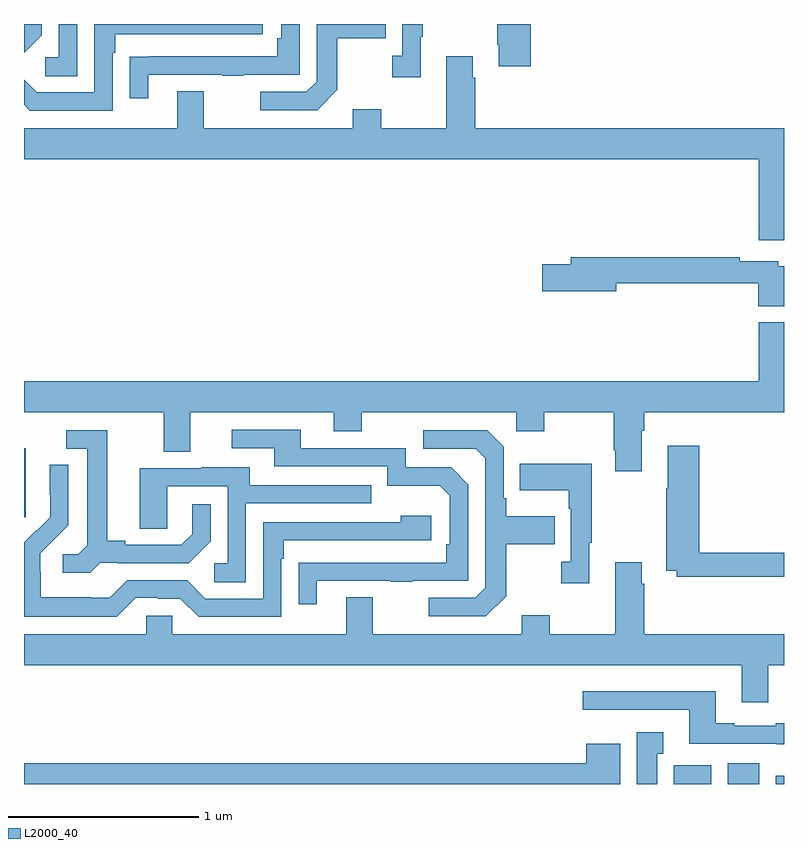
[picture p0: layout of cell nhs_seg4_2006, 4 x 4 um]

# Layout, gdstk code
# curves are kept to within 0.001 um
import gdstk
lib = gdstk.Library(unit=1e-6, precision=1e-09)
def R(c, l, rs):  # rectangles x0, y0, x1, y1
    for r in rs: c.add(gdstk.rectangle(r[:2], r[2:], *l))
def P(c, l, *ps):  # polygons
    for p in ps: c.add(gdstk.Polygon(p, *l))
L2000_40 = (2000, 40)

nhs_seg4_2006 = lib.new_cell('nhs_seg4_2006')
R(nhs_seg4_2006, L2000_40, [(218.421,758.9,218.617,759), (218.705,758.9,218.869,759.01), (218.957,758.9,219,758.944), (215,760.305,215.008,760.666)])
P(nhs_seg4_2006, L2000_40, [(215.094,762.842),(215.094,762.9),(215,762.9),(215,762.748)],
  [(215.466,762.749),(215.479,762.749),(215.479,762.846),(216.256,762.846),(216.256,762.9),(215.37,762.9),(215.37,762.54),(215.067,762.54),(215,762.607),(215,762.475),(215.031,762.444),(215.466,762.444)],
  [(216.649,762.553),(216.649,762.826),(216.905,762.826),(216.905,762.9),(216.54,762.9),(216.54,762.597),(216.486,762.543),(216.243,762.543),(216.243,762.447),(216.543,762.447)],
  [(215.653,762.633),(216.043,762.633),(216.043,762.628),(216.155,762.628),(216.155,762.633),(216.45,762.633),(216.45,762.9),(216.354,762.9),(216.354,762.826),(216.334,762.826),(216.334,762.729),(215.659,762.729),(215.659,762.728),(215.557,762.728),(215.557,762.51),(215.653,762.51)],
  [(217.667,762.9),(217.492,762.9),(217.492,762.79),(217.499,762.79),(217.499,762.678),(217.667,762.678)],
  [(215.28,762.9),(215.184,762.9),(215.184,762.726),(215.112,762.726),(215.112,762.625),(215.28,762.625)],
  [(217.087,762.833),(217.099,762.833),(217.099,762.9),(216.99,762.9),(216.99,762.734),(216.939,762.734),(216.939,762.621),(217.087,762.621)],
  [(219,762.352),(217.376,762.352),(217.376,762.617),(217.363,762.617),(217.363,762.73),(217.223,762.73),(217.223,762.352),(216.879,762.352),(216.879,762.451),(216.731,762.451),(216.731,762.352),(215.947,762.352),(215.947,762.547),(215.807,762.547),(215.807,762.352),(215,762.352),(215,762.188),(218.867,762.188),(218.867,761.763),(219,761.763)],
  [(219,761.626),(218.97,761.626),(218.97,761.652),(218.768,761.652),(218.768,761.672),(217.877,761.672),(217.877,761.636),(217.728,761.636),(217.728,761.494),(218.116,761.494),(218.116,761.536),(218.864,761.536),(218.864,761.414),(219,761.414)],
  [(218.251,760.76),(218.264,760.76),(218.264,760.856),(219,760.856),(219,761.329),(218.867,761.329),(218.867,761.02),(215,761.02),(215,760.856),(215.735,760.856),(215.735,760.648),(215.875,760.648),(215.875,760.856),(216.629,760.856),(216.629,760.757),(216.777,760.757),(216.777,760.856),(217.59,760.856),(217.59,760.757),(217.737,760.757),(217.737,760.856),(218.104,760.856),(218.104,760.657),(218.111,760.657),(218.111,760.545),(218.251,760.545)],
  [(216.541,759.969),(216.931,759.969),(216.931,759.964),(217.043,759.964),(217.043,759.969),(217.338,759.969),(217.338,760.476),(217.248,760.566),(217.008,760.566),(217.008,760.668),(216.457,760.668),(216.457,760.764),(216.093,760.764),(216.093,760.668),(216.317,760.668),(216.317,760.572),(216.912,760.572),(216.912,760.469),(217.189,760.469),(217.242,760.416),(217.242,760.162),(217.222,760.162),(217.222,760.065),(216.445,760.064),(216.445,759.846),(216.541,759.846)],
  [(215.4,760.065),(215.494,760.065),(215.494,760.062),(215.866,760.062),(215.982,760.178),(215.982,760.372),(215.885,760.372),(215.885,760.215),(215.828,760.158),(215.533,760.158),(215.533,760.181),(215.437,760.181),(215.437,760.761),(215.223,760.761),(215.223,760.665),(215.333,760.665),(215.333,760.157),(215.286,760.11),(215.205,760.11),(215.205,760.013),(215.348,760.013)],
  [(217.537,759.889),(217.537,760.162),(217.793,760.162),(217.793,760.309),(217.537,760.309),(217.537,760.405),(217.524,760.405),(217.524,760.674),(217.437,760.761),(217.101,760.761),(217.101,760.665),(217.377,760.665),(217.428,760.614),(217.428,759.933),(217.374,759.879),(217.131,759.879),(217.131,759.783),(217.431,759.783)],
  [(219,760.118),(218.555,760.118),(218.555,760.681),(218.387,760.681),(218.387,760.457),(218.38,760.457),(218.38,760.022),(218.436,760.022),(218.436,759.99),(219,759.99)],
  [(217.975,760.169),(217.987,760.169),(217.987,760.585),(217.609,760.585),(217.609,760.445),(217.866,760.445),(217.866,760.349),(217.878,760.349),(217.878,760.07),(217.827,760.07),(217.827,759.957),(217.975,759.957)],
  [(215.589,759.879),(215.705,759.879),(215.705,759.876),(215.823,759.876),(215.919,759.78),(216.354,759.78),(216.354,760.085),(216.367,760.085),(216.367,760.182),(217.144,760.182),(217.144,760.312),(216.983,760.312),(216.983,760.278),(216.258,760.278),(216.258,759.876),(215.955,759.876),(215.859,759.972),(215.544,759.972),(215.451,759.879),(215.351,759.879),(215.351,759.883),(215.088,759.883),(215.088,760.017),(215.086,760.017),(215.086,760.114),(215.232,760.262),(215.232,760.58),(215.136,760.58),(215.136,760.426),(215.138,760.426),(215.138,760.304),(215.067,760.233),(215.064,760.236),(215,760.172),(215,759.779),(215.489,759.779)],
  [(216.168,760.377),(216.827,760.377),(216.827,760.473),(216.187,760.473),(216.187,760.567),(215.933,760.567),(215.933,760.563),(215.609,760.563),(215.609,760.243),(215.754,760.243),(215.754,760.467),(216.072,760.467),(216.072,760.062),(216,760.062),(216,759.961),(216.168,759.961)],
  [(218.917,759.524),(219,759.524),(219,759.688),(218.264,759.688),(218.264,759.953),(218.251,759.953),(218.251,760.066),(218.111,760.066),(218.111,759.688),(217.767,759.688),(217.767,759.787),(217.619,759.787),(217.619,759.688),(216.835,759.688),(216.835,759.883),(216.695,759.883),(216.695,759.688),(215.781,759.688),(215.781,759.786),(215.643,759.786),(215.643,759.688),(215,759.688),(215,759.524),(218.777,759.524),(218.777,759.33),(218.917,759.33)],
  [(219,759.22),(218.957,759.22),(218.957,759.207),(218.737,759.207),(218.737,759.22),(218.641,759.22),(218.641,759.388),(217.941,759.388),(217.941,759.291),(218.501,759.291),(218.501,759.111),(218.961,759.111),(218.961,759.11),(219,759.11)],
  [(218.332,759.059),(218.365,759.059),(218.365,759.172),(218.225,759.172),(218.225,758.9),(218.332,758.9)],
  [(218.137,759.112),(217.958,759.112),(217.958,759.008),(215,759.008),(215,758.9),(218.137,758.9)])

lib.write_gds('nhs_seg4_2006.gds')
